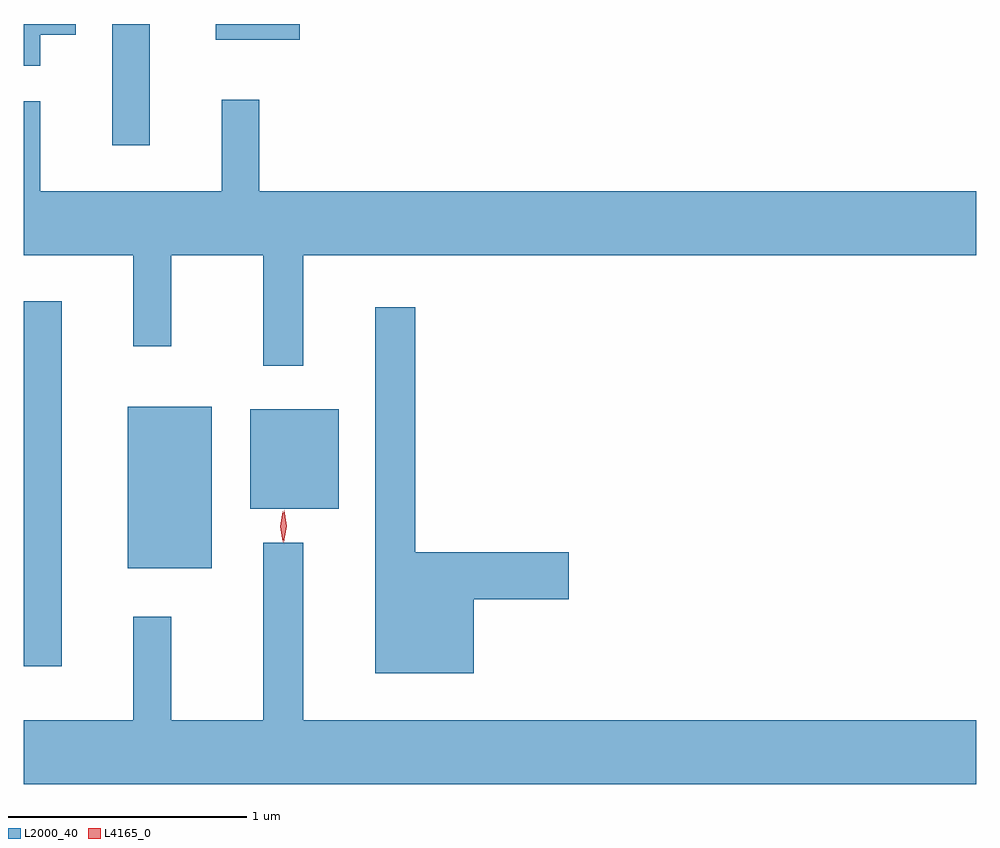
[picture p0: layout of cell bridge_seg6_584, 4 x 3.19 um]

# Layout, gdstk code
import gdstk
lib = gdstk.Library(unit=1e-6, precision=1e-09)
def R(c, l, rs):  # rectangles x0, y0, x1, y1
    for r in rs: c.add(gdstk.rectangle(r[:2], r[2:], *l))
def P(c, l, *ps):  # polygons
    for p in ps: c.add(gdstk.Polygon(p, *l))
L2000_40 = (2000, 40)
L4165_0 = (4165, 0)

bridge_seg6_584 = lib.new_cell('bridge_seg6_584')
R(bridge_seg6_584, L2000_40, [(556.291,1613.101,556.644,1613.779), (556.806,1613.351,557.179,1613.769), (556.226,1614.878,556.384,1615.387), (556.661,1615.321,557.014,1615.387)])
P(bridge_seg6_584, L2000_40, [(555.924,1615.341),(556.074,1615.341),(556.074,1615.387),(555.855,1615.387),(555.855,1615.211),(555.924,1615.211)],
  [(557.029,1614.416),(559.855,1614.416),(559.855,1614.684),(556.844,1614.684),(556.844,1615.068),(556.686,1615.068),(556.686,1614.684),(555.924,1614.684),(555.924,1615.063),(555.855,1615.063),(555.855,1614.416),(556.316,1614.416),(556.316,1614.033),(556.474,1614.033),(556.474,1614.416),(556.861,1614.416),(556.861,1613.953),(557.029,1613.953)],
  [(556.014,1614.223),(555.856,1614.223),(555.856,1613.259),(555.855,1613.259),(555.855,1612.691),(556.014,1612.691)],
  [(557.744,1612.971),(558.144,1612.971),(558.144,1613.169),(557.499,1613.169),(557.499,1614.198),(557.331,1614.198),(557.331,1612.661),(557.744,1612.661)],
  [(559.855,1612.464),(557.029,1612.464),(557.029,1613.208),(556.861,1613.208),(556.861,1612.464),(556.474,1612.464),(556.474,1612.898),(556.316,1612.898),(556.316,1612.464),(555.855,1612.464),(555.855,1612.196),(559.855,1612.196)])
P(bridge_seg6_584, L4165_0, [(556.948,1613.209),(556.947,1613.21),(556.939,1613.278),(556.949,1613.346),(556.95,1613.346),(556.95,1613.346),(556.959,1613.278),(556.948,1613.21)],
  [(556.942,1613.213),(556.942,1613.213),(556.932,1613.277),(556.942,1613.341),(556.942,1613.342),(556.942,1613.341),(556.952,1613.277),(556.942,1613.213)])

lib.write_gds('bridge_seg6_584.gds')
